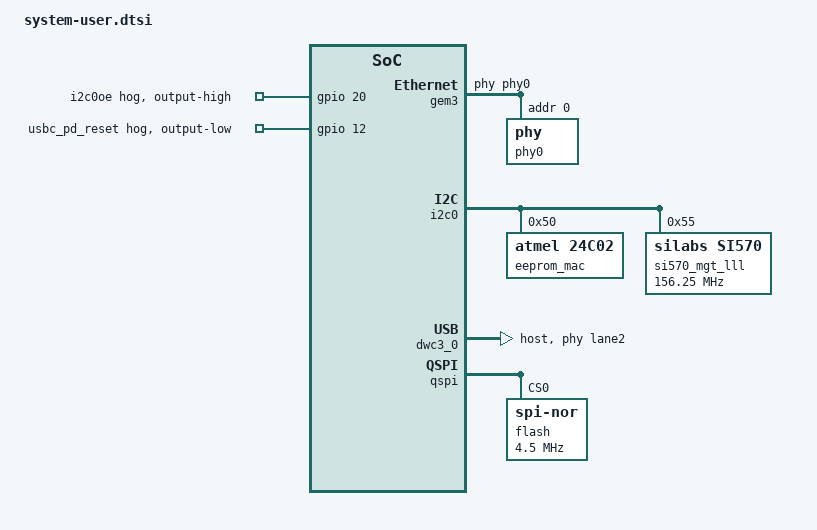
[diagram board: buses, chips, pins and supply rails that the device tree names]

#include "dt-bindings/gpio/gpio.h"
#include "dt-bindings/phy/phy.h"

&gem3 {
    phy-handle = <&phy0>;

    phy0: phy@0 {
        // Marvel 88E1512
        //   compatible string is not needed
        reg = <0>;
        device_type = "ethernet-phy";
        marvell,reg-init =
            <254 15 0x3fff 0>;
    };
};

&sdhci0 {
    // WP pin is not available on microSD, not connected on the board
    disable-wp;

    // the HW does not support SD 3.0
    no-1-8-v;
};

&gpio {
    i2c0oe {
        gpio-hog;
        output-high;
        gpios = <20 GPIO_ACTIVE_HIGH>;
    };

    usbc_pd_reset {
        gpio-hog;
        output-low;
        gpios = <12 GPIO_ACTIVE_HIGH>;
    };
};

&i2c0 {
    eeprom_mac: eeprom@50 {
        compatible = "atmel,24c02";
        reg = <0x50>;
        pagesize = <16>;
    };

    si570_mgt_lll: clock-generator@5d {
        #clock-cells = <0>;
        compatible = "silabs,si570";
        temperature-stability = <50>;
        reg = <0x55>;
        factory-fout = <125000000>;
        clock-frequency = <156250000>;
        clock-output-names = "si570_mgt_lll";
    };

    /* Si Labs at 0x76, 0x77 are handled by a separate script */
};

&dwc3_0 {
	status = "okay";
	dr_mode = "host";
	snps,usb3_lpm_capable;
	phy-names = "usb3-phy";
	phys = <&lane2 PHY_TYPE_USB3 0 2 26000000>;
	maximum-speed = "super-speed";
};

// copied from ZCU104
// and https://www.zachpfeffer.com/single-post/Integrate-a-QSPI-using-PetaLinux-Tools-Part-2
// going very slow
&qspi {
	status = "okay";
	flash@0 {
		compatible = "jedec,spi-nor";
		#address-cells = <1>;
		#size-cells = <1>;
		reg = <0x0>;
		spi-tx-bus-width = <4>;
		spi-rx-bus-width = <4>;
		spi-max-frequency = <4500000>;
	};
};

